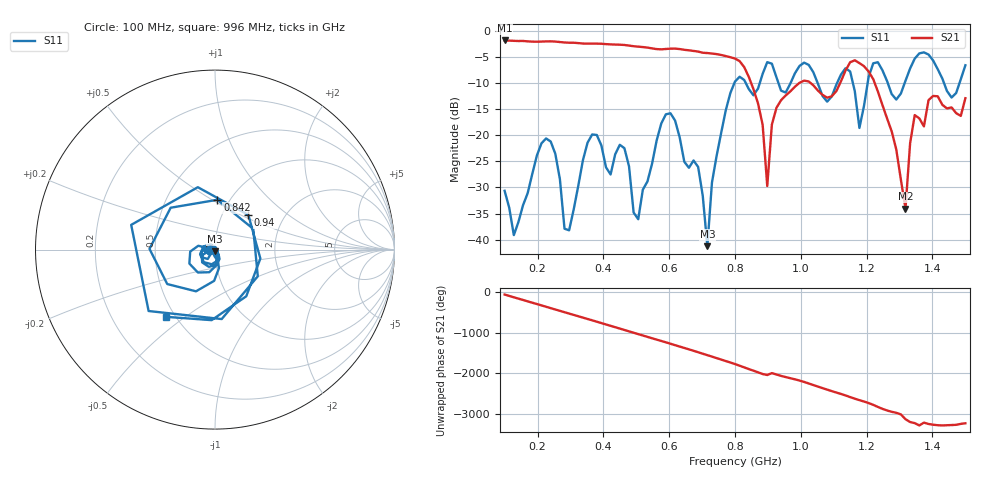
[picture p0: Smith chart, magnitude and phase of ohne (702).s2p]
! NanoVNA-App
! Date: 2025-09-25 14:26:16
! Start: 100MHz Stop: 1,5GHz Points: 101
! S-Parameter data: F S11 S21 S12 S22
# Hz S RI R 50
!  Frequency  S11_Real  S11_Imag  S21_Real  S21_Imag  S12_Real  S12_Imag  S22_Real  S22_Imag
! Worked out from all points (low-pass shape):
!   101 points, 100 MHz to 1.5 GHz, reference 50 ohm
!   highest |S21| = -1.79 dB at 100 MHz (marker M1); lowest = -34.1 dB at 1.318 GHz (marker M2)
!   |S21| within 3 dB of the highest: start of sweep to 772 MHz
!   lowest |S11| = -41.3 dB at 716 MHz (marker M3), VSWR 1.02, Z = 49.8 - j0.85 ohm
!   |S11| at or under -10 dB: start of sweep to 798 MHz; 833 MHz to 875.1 MHz (42.09 MHz wide, 4.93 % of centre); 1.051 GHz to 1.11 GHz (58.52 MHz wide, 5.42 % of centre) (the widest 3 of 7)
!   S12 and S22 are empty: the file has one direction only
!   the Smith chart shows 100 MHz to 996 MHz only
!   S11 on the Smith chart (normalised r, x): 100 MHz: 0.94, -0.01; 842 MHz: 0.88, +0.53; 940 MHz: 1.32, +0.55; 996 MHz: 0.45, -0.43
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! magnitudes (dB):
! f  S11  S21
! 100 MHz  -30.6  -1.8
! 128 MHz  -39.1  -1.9
! 226 MHz  -20.6  -2.0
! 296 MHz  -38.2  -2.2
! 338 MHz  -24.8  -2.4
! 464 MHz  -22.5  -2.7
! 506 MHz  -36.1  -3.0
! 576 MHz  -17.7  -3.5
! 688 MHz  -26.1  -3.9
! 716 MHz  -41.3  -4.2
! 800 MHz  -9.7  -5.3
! 842 MHz  -11.1  -8.8
! 898 MHz  -6.0  -29.7
! 940 MHz  -11.4  -13.2
! 996 MHz  -6.7  -9.9
! 1.038 GHz  -7.9  -10.4
! 1.164 GHz  -11.5  -5.6
! 1.178 GHz  -18.6  -6.1
! 1.276 GHz  -12.1  -19.2
! 1.318 GHz  -9.5  -34.1
! 1.346 GHz  -5.3  -16.1
! 1.5 GHz  -6.6  -12.9
